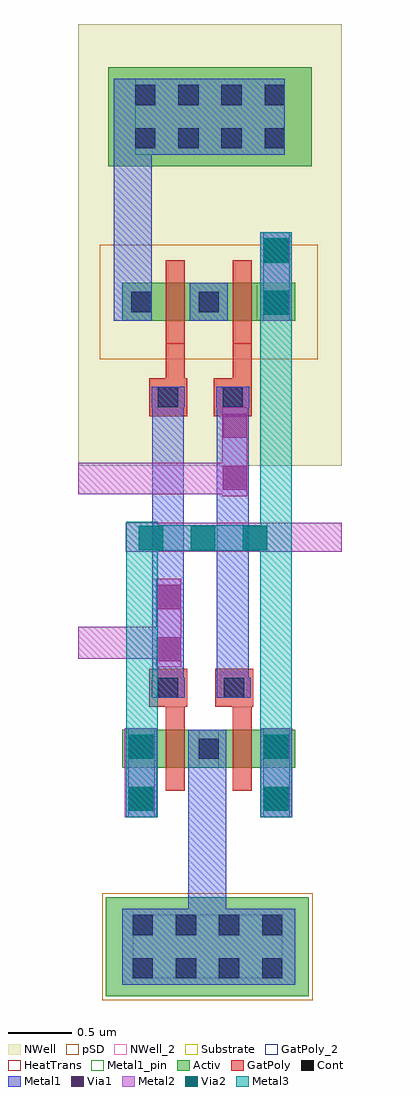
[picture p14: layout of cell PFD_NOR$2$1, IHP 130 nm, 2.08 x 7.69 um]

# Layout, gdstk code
import gdstk
lib = gdstk.Library(unit=1e-6, precision=1e-09)
def R(c, l, rs):  # rectangles x0, y0, x1, y1
    for r in rs: c.add(gdstk.rectangle(r[:2], r[2:], *l))
def A(c, l, x, y, w, h, nx, ny, dx, dy):  # array of equal rectangles
    R(c, l, [(x+i*dx, y+j*dy, x+i*dx+w, y+j*dy+h) for i in range(nx) for j in range(ny)])
Activ = (1, 0)
GatPoly = (5, 0)
GatPoly_2 = (5, 2)
Cont = (6, 0)
Metal1 = (8, 0)
Metal1_pin = (8, 2)
Metal2 = (10, 0)
pSD = (14, 0)
Via1 = (19, 0)
Via2 = (29, 0)
Metal3 = (30, 0)
NWell = (31, 0)
NWell_2 = (31, 2)
Substrate = (40, 0)
HeatTrans = (51, 0)

pmos_5_1 = lib.new_cell('pmos$5$1')
R(pmos_5_1, Activ, [(0,0,0.3,0.3), (0,0,0.83,0.3), (0.53,0,0.83,0.3)])
R(pmos_5_1, GatPoly, [(0.34,-0.18,0.49,0.48), (0.34,-0.18,0.49,0.48)])
R(pmos_5_1, Cont, [(0.07,0.07,0.23,0.23), (0.6,0.07,0.76,0.23)])
R(pmos_5_1, Metal1, [(0.07,0,0.23,0.3), (0.07,0,0.23,0.3), (0.6,0,0.76,0.3), (0.6,0,0.76,0.3)])
R(pmos_5_1, pSD, [(-0.18,-0.3,1.01,0.6)])
R(pmos_5_1, NWell, [(-0.31,-0.31,1.14,0.61)])
R(pmos_5_1, Substrate, [(0.53,0,0.83,0.3)])
R(pmos_5_1, HeatTrans, [(0.34,-0.18,0.49,0.48)])
pmos_5_1.add(gdstk.Label('pmos', (0.415,0.15), layer=63, texttype=0))
pmos_5_1.add(gdstk.Label('pmos', (0.415,0.15), layer=51, texttype=0))

ntap1_5_1 = lib.new_cell('ntap1$5$1')
R(ntap1_5_1, Activ, [(0,0,1.6,0.78)])
A(ntap1_5_1, Cont, 0.21, 0.14, 0.16, 0.16, 4, 2, 0.34, 0.34)
R(ntap1_5_1, Metal1, [(0.21,0.09,1.39,0.69)])
R(ntap1_5_1, Metal1_pin, [(0.21,0.09,1.39,0.69), (0.21,0.14,1.39,0.64)])
R(ntap1_5_1, NWell, [(-0.24,-0.24,1.84,1.02), (0,0,1.6,0.78)])
R(ntap1_5_1, NWell_2, [(0,0,1.6,0.78)])
ntap1_5_1.add(gdstk.Label('well', (0.8,0.01), layer=63, texttype=0))
ntap1_5_1.add(gdstk.Label('well', (0.8,0.01), layer=31, texttype=0))

via_5_4_1 = lib.new_cell('Via$5$4$1')
R(via_5_4_1, GatPoly, [(-0.15,-0.15,0.15,0.15)])
R(via_5_4_1, Cont, [(-0.08,-0.08,0.08,0.08)])
R(via_5_4_1, Metal1, [(-0.13,-0.08,0.13,0.08)])

via_6_3_1 = lib.new_cell('Via$6$3$1')
R(via_6_3_1, Metal1, [(-0.105,-0.35,0.105,0.35)])
R(via_6_3_1, Metal2, [(-0.1,-0.35,0.1,0.35)])
R(via_6_3_1, Via1, [(-0.095,-0.3,0.095,-0.11), (-0.095,0.11,0.095,0.3)])

ptap1_5_1 = lib.new_cell('ptap1$5$1')
R(ptap1_5_1, Activ, [(0,0,1.6,0.78)])
A(ptap1_5_1, Cont, 0.21, 0.14, 0.16, 0.16, 4, 2, 0.34, 0.34)
R(ptap1_5_1, Metal1, [(0.21,0.09,1.39,0.69), (0.21,0.14,1.39,0.64)])
R(ptap1_5_1, Metal1_pin, [(0.21,0.14,1.39,0.64)])
R(ptap1_5_1, pSD, [(-0.03,-0.03,1.63,0.81)])
R(ptap1_5_1, Substrate, [(0,0,1.6,0.78)])
ptap1_5_1.add(gdstk.Label('sub!', (0.8,0.01), layer=63, texttype=0))
ptap1_5_1.add(gdstk.Label('sub!', (0.8,0.01), layer=40, texttype=0))

nmos_5_1 = lib.new_cell('nmos$5$1')
R(nmos_5_1, Activ, [(0,0,0.3,0.3), (0,0,0.83,0.3), (0.53,0,0.83,0.3)])
R(nmos_5_1, GatPoly, [(0.34,-0.18,0.49,0.48)])
R(nmos_5_1, GatPoly_2, [(0.34,-0.18,0.49,0.48)])
R(nmos_5_1, Cont, [(0.07,0.07,0.23,0.23), (0.6,0.07,0.76,0.23)])
R(nmos_5_1, Metal1, [(0.07,0,0.23,0.3), (0.6,0,0.76,0.3)])
R(nmos_5_1, Metal1_pin, [(0.07,0,0.23,0.3), (0.6,0,0.76,0.3)])
R(nmos_5_1, HeatTrans, [(0.34,-0.18,0.49,0.48)])
nmos_5_1.add(gdstk.Label('nmos', (0.415,0.15), layer=63, texttype=0))
nmos_5_1.add(gdstk.Label('nmos', (0.415,0.15), layer=51, texttype=0))

via_15_1 = lib.new_cell('Via$15$1')
R(via_15_1, Metal2, [(-0.1,-0.35,0.1,0.35)])
R(via_15_1, Via2, [(-0.095,-0.3,0.095,-0.11), (-0.095,0.11,0.095,0.3)])
R(via_15_1, Metal3, [(-0.1,-0.35,0.1,0.35)])

via_7_3_1 = lib.new_cell('Via$7$3$1')
R(via_7_3_1, Metal2, [(-0.555,-0.1,0.555,0.1)])
A(via_7_3_1, Via2, -0.505, -0.095, 0.19, 0.19, 3, 1, 0.41, 0)
R(via_7_3_1, Metal3, [(-0.555,-0.1,0.555,0.1)])

pfd_nor_2_1 = lib.new_cell('PFD_NOR$2$1')
R(pfd_nor_2_1, GatPoly, [(0.53,0.13,0.68,0.41), (0,0.14,0.15,0.41)])
R(pfd_nor_2_1, Metal1, [(-0.34,-4.64,1.02,-4.04), (0.19,0.59,0.49,0.89)])
R(pfd_nor_2_1, Metal2, [(-0.315,-1.23,1.39,-1)])
R(pfd_nor_2_1, NWell, [(-0.69,-0.55,1.39,2.93)])
pfd_nor_2_1.add(gdstk.FlexPath([(0.875,-2.62),(0.875,-3.32)], 0.25, ends="flush", simple_path=True, layer=10, datatype=0))  # Metal2
pfd_nor_2_1.add(gdstk.FlexPath([(0.87,1.29),(0.87,0.59)], 0.25, ends="flush", simple_path=True, layer=10, datatype=0))  # Metal2
pfd_nor_2_1.add(gdstk.FlexPath([(0.64,-0.65),(-0.69,-0.65)], 0.25, ends="flush", simple_path=True, layer=10, datatype=0))  # Metal2
pfd_nor_2_1.add(gdstk.FlexPath([(0.125,-1.945),(-0.69,-1.945)], 0.25, ends="flush", simple_path=True, layer=10, datatype=0))  # Metal2
pfd_nor_2_1.add(gdstk.FlexPath([(-0.195,-2.62),(-0.195,-3.32)], 0.25, ends="flush", simple_path=True, layer=10, datatype=0))  # Metal2
pfd_nor_2_1.add(gdstk.FlexPath([(-0.26,0.59),(-0.26,2.5)], 0.3, ends="flush", simple_path=True, layer=8, datatype=0))  # Metal1
pfd_nor_2_1.add(gdstk.FlexPath([(0.02,0.07),(0.02,-2.38)], 0.25, ends="flush", simple_path=True, layer=8, datatype=0))  # Metal1
pfd_nor_2_1.add(gdstk.FlexPath([(0.53,0.07),(0.53,-2.38)], 0.25, ends="flush", simple_path=True, layer=8, datatype=0))  # Metal1
pfd_nor_2_1.add(gdstk.FlexPath([(0.33,-2.63),(0.33,-4.04)], 0.3, ends="flush", simple_path=True, layer=8, datatype=0))  # Metal1
pfd_nor_2_1.add(gdstk.FlexPath([(0.87,-3.32),(0.87,1.29)], 0.25, ends="flush", simple_path=True, layer=30, datatype=0))  # Metal3
pfd_nor_2_1.add(gdstk.FlexPath([(-0.185,-3.32),(-0.185,-0.99)], 0.25, ends="flush", simple_path=True, layer=30, datatype=0))  # Metal3
pfd_nor_2_1.add(gdstk.Reference(pmos_5_1, (-0.34,0.59)))
pfd_nor_2_1.add(gdstk.Reference(pmos_5_1, (0.19,0.59)))
pfd_nor_2_1.add(gdstk.Reference(ntap1_5_1, (-0.45,1.81)))
pfd_nor_2_1.add(gdstk.Reference(via_5_4_1, (0.02,-0.01)))
pfd_nor_2_1.add(gdstk.Reference(via_5_4_1, (0.53,-0.01)))
pfd_nor_2_1.add(gdstk.Reference(via_5_4_1, (0.02,-2.3)))
pfd_nor_2_1.add(gdstk.Reference(via_5_4_1, (0.54,-2.3)))
pfd_nor_2_1.add(gdstk.Reference(via_6_3_1, (0.025,-1.79)))
pfd_nor_2_1.add(gdstk.Reference(via_6_3_1, (0.545,-0.44)))
pfd_nor_2_1.add(gdstk.Reference(ptap1_5_1, (-0.47,-4.73)))
pfd_nor_2_1.add(gdstk.Reference(nmos_5_1, (-0.34,-2.93)))
pfd_nor_2_1.add(gdstk.Reference(nmos_5_1, (0.19,-2.93)))
pfd_nor_2_1.add(gdstk.Reference(via_15_1, (0.87,0.94)))
pfd_nor_2_1.add(gdstk.Reference(via_6_3_1, (0.875,0.94)))
pfd_nor_2_1.add(gdstk.Reference(via_15_1, (0.87,-2.97)))
pfd_nor_2_1.add(gdstk.Reference(via_6_3_1, (0.875,-2.97)))
pfd_nor_2_1.add(gdstk.Reference(via_7_3_1, (0.295,-1.12)))
pfd_nor_2_1.add(gdstk.Reference(via_15_1, (-0.195,-2.97)))
pfd_nor_2_1.add(gdstk.Reference(via_6_3_1, (-0.19,-2.97)))

lib.write_gds('PFD_NOR_2_1.gds')
